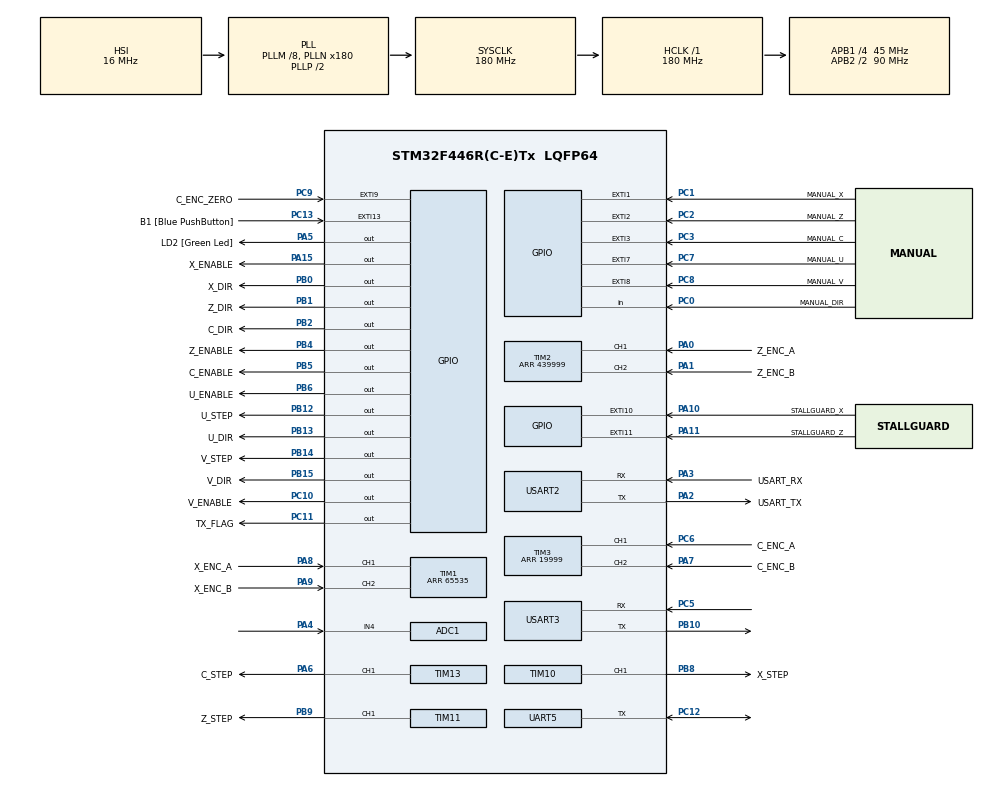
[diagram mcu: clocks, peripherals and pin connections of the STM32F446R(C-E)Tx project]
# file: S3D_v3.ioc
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ADC1.Channel-0\#ChannelRegularConversion=ADC_CHANNEL_4
ADC1.ClockPrescaler=ADC_CLOCK_SYNC_PCLK_DIV8
ADC1.NbrOfConversion=1
ADC1.NbrOfConversionFlag=1
ADC1.Rank-0\#ChannelRegularConversion=1
ADC1.SamplingTime-0\#ChannelRegularConversion=ADC_SAMPLETIME_84CYCLES
ADC1.master=1
Dma.ADC1.0.Direction=DMA_PERIPH_TO_MEMORY
Dma.ADC1.0.FIFOMode=DMA_FIFOMODE_DISABLE
Dma.ADC1.0.Instance=DMA2_Stream0
Dma.ADC1.0.MemDataAlignment=DMA_MDATAALIGN_HALFWORD
Dma.ADC1.0.MemInc=DMA_MINC_DISABLE
Dma.ADC1.0.Mode=DMA_CIRCULAR
Dma.ADC1.0.PeriphDataAlignment=DMA_PDATAALIGN_HALFWORD
Dma.ADC1.0.PeriphInc=DMA_PINC_DISABLE
Dma.ADC1.0.Priority=DMA_PRIORITY_HIGH
Dma.Request0=ADC1
Mcu.Family=STM32F4
Mcu.Name=STM32F446R(C-E)Tx
Mcu.Package=LQFP64
NVIC.DMA2_Stream0_IRQn=true\:0\:0\:false\:false\:true\:false\:true\:true
NVIC.EXTI15_10_IRQn=true\:0\:0\:false\:false\:true\:true\:true\:true
NVIC.EXTI1_IRQn=true\:0\:0\:false\:false\:true\:true\:true\:true
NVIC.EXTI2_IRQn=true\:0\:0\:false\:false\:true\:true\:true\:true
NVIC.EXTI3_IRQn=true\:0\:0\:false\:false\:true\:true\:true\:true
NVIC.EXTI9_5_IRQn=true\:0\:0\:false\:false\:true\:true\:true\:true
NVIC.PriorityGroup=NVIC_PRIORITYGROUP_2
NVIC.TIM1_TRG_COM_TIM11_IRQn=true\:1\:0\:true\:false\:true\:true\:true\:true
NVIC.TIM1_UP_TIM10_IRQn=true\:1\:0\:true\:false\:true\:true\:true\:true
NVIC.TIM6_DAC_IRQn=true\:1\:0\:true\:false\:true\:true\:true\:true
NVIC.TIM7_IRQn=true\:1\:0\:true\:false\:true\:true\:true\:true
NVIC.TIM8_UP_TIM13_IRQn=true\:1\:0\:true\:false\:true\:true\:true\:true
NVIC.USART2_IRQn=true\:0\:0\:false\:false\:true\:true\:true\:true
NVIC.USART3_IRQn=true\:0\:0\:false\:false\:true\:true\:true\:true
PA0-WKUP.GPIO_Label=Z_ENC_A
PA0-WKUP.GPIO_Speed=GPIO_SPEED_FREQ_HIGH
PA0-WKUP.Signal=S_TIM2_CH1_ETR
PA1.GPIO_Label=Z_ENC_B
PA1.Signal=S_TIM2_CH2
PA10.GPIO_Label=STALLGUARD_X
PA10.GPIO_PuPd=GPIO_PULLDOWN
PA10.Signal=GPXTI10
PA11.GPIO_Label=STALLGUARD_Z
PA11.GPIO_PuPd=GPIO_PULLDOWN
PA11.Signal=GPXTI11
PA13.GPIO_Label=TMS
PA13.Mode=Serial_Wire
PA13.Signal=SYS_JTMS-SWDIO
PA14.GPIO_Label=TCK
PA14.Mode=Serial_Wire
PA14.Signal=SYS_JTCK-SWCLK
PA15.GPIO_Label=X_ENABLE
PA15.GPIO_PuPd=GPIO_PULLDOWN
PA15.GPIO_Speed=GPIO_SPEED_FREQ_MEDIUM
PA15.Signal=GPIO_Output
PA2.GPIO_Label=USART_TX
PA2.Mode=Asynchronous
PA2.Signal=USART2_TX
PA3.GPIO_Label=USART_RX
PA3.Mode=Asynchronous
PA3.Signal=USART2_RX
PA4.Signal=ADCx_IN4
PA5.GPIO_Label=LD2 [Green Led]
PA5.Signal=GPIO_Output
PA6.GPIO_Label=C_STEP
PA6.GPIO_PuPd=GPIO_PULLDOWN
PA6.GPIO_Speed=GPIO_SPEED_FREQ_HIGH
PA6.Signal=S_TIM13_CH1
PA7.GPIO_Label=C_ENC_B
PA7.Signal=S_TIM3_CH2
PA8.GPIO_Label=X_ENC_A
PA8.GPIO_Speed=GPIO_SPEED_FREQ_HIGH
PA8.Signal=S_TIM1_CH1
PA9.GPIO_Label=X_ENC_B
PA9.GPIO_Speed=GPIO_SPEED_FREQ_HIGH
PA9.Signal=S_TIM1_CH2
PB0.GPIO_Label=X_DIR
PB0.GPIO_PuPd=GPIO_PULLDOWN
PB0.GPIO_Speed=GPIO_SPEED_FREQ_HIGH
PB0.Signal=GPIO_Output
PB1.GPIO_Label=Z_DIR
PB1.GPIO_PuPd=GPIO_PULLDOWN
PB1.GPIO_Speed=GPIO_SPEED_FREQ_HIGH
PB1.Signal=GPIO_Output
PB10.Mode=Asynchronous
PB10.Signal=USART3_TX
PB12.GPIO_Label=U_STEP
PB12.GPIO_Speed=GPIO_SPEED_FREQ_HIGH
PB12.PinState=GPIO_PIN_RESET
PB12.Signal=GPIO_Output
PB13.GPIO_Label=U_DIR
PB13.GPIO_Speed=GPIO_SPEED_FREQ_HIGH
PB13.Signal=GPIO_Output
PB14.GPIO_Label=V_STEP
PB14.GPIO_Speed=GPIO_SPEED_FREQ_HIGH
PB14.Signal=GPIO_Output
PB15.GPIO_Label=V_DIR
PB15.GPIO_Speed=GPIO_SPEED_FREQ_HIGH
PB15.Signal=GPIO_Output
PB2.GPIO_Label=C_DIR
PB2.GPIO_PuPd=GPIO_PULLDOWN
PB2.GPIO_Speed=GPIO_SPEED_FREQ_HIGH
PB2.Signal=GPIO_Output
PB3.GPIO_Label=SWO
PB3.Signal=SYS_JTDO-SWO
PB4.GPIO_Label=Z_ENABLE
PB4.GPIO_PuPd=GPIO_PULLDOWN
PB4.GPIO_Speed=GPIO_SPEED_FREQ_MEDIUM
PB4.Signal=GPIO_Output
PB5.GPIO_Label=C_ENABLE
PB5.GPIO_PuPd=GPIO_PULLDOWN
PB5.GPIO_Speed=GPIO_SPEED_FREQ_MEDIUM
PB5.PinState=GPIO_PIN_RESET
PB5.Signal=GPIO_Output
PB6.GPIO_Label=U_ENABLE
PB6.GPIO_PuPd=GPIO_PULLDOWN
PB6.GPIO_Speed=GPIO_SPEED_FREQ_MEDIUM
PB6.Signal=GPIO_Output
PB8.GPIO_Label=X_STEP
PB8.GPIO_PuPd=GPIO_PULLDOWN
PB8.GPIO_Speed=GPIO_SPEED_FREQ_HIGH
PB8.Signal=S_TIM10_CH1
PB9.GPIO_Label=Z_STEP
PB9.GPIO_PuPd=GPIO_PULLDOWN
PB9.GPIO_Speed=GPIO_SPEED_FREQ_HIGH
PB9.Signal=S_TIM11_CH1
PC0.GPIO_Label=MANUAL_DIR
PC0.GPIO_PuPd=GPIO_PULLDOWN
PC0.Signal=GPIO_Input
PC1.GPIO_Label=MANUAL_X
PC1.GPIO_ModeDefaultEXTI=GPIO_MODE_IT_RISING_FALLING
PC1.GPIO_PuPd=GPIO_PULLDOWN
PC1.Signal=GPXTI1
PC10.GPIO_Label=V_ENABLE
PC10.GPIO_PuPd=GPIO_PULLDOWN
PC10.GPIO_Speed=GPIO_SPEED_FREQ_MEDIUM
PC10.Signal=GPIO_Output
PC11.GPIO_Label=TX_FLAG
PC11.GPIO_Speed=GPIO_SPEED_FREQ_HIGH
PC11.Signal=GPIO_Output
PC12.Mode=Half_duplex(single_wire_mode)
PC12.Signal=UART5_TX
PC13.GPIO_Label=B1 [Blue PushButton]
PC13.GPIO_ModeDefaultEXTI=GPIO_MODE_IT_FALLING
PC13.Signal=GPXTI13
PC14-OSC32_IN.Mode=LSE-External-Oscillator
PC14-OSC32_IN.Signal=RCC_OSC32_IN
PC15-OSC32_OUT.Mode=LSE-External-Oscillator
PC15-OSC32_OUT.Signal=RCC_OSC32_OUT
PC2.GPIO_Label=MANUAL_Z
PC2.GPIO_ModeDefaultEXTI=GPIO_MODE_IT_RISING_FALLING
PC2.GPIO_PuPd=GPIO_PULLDOWN
PC2.Signal=GPXTI2
PC3.GPIO_Label=MANUAL_C
PC3.GPIO_ModeDefaultEXTI=GPIO_MODE_IT_RISING_FALLING
PC3.GPIO_PuPd=GPIO_PULLDOWN
PC3.Signal=GPXTI3
PC5.Mode=Asynchronous
PC5.Signal=USART3_RX
PC6.GPIO_Label=C_ENC_A
PC6.GPIO_Speed=GPIO_SPEED_FREQ_HIGH
PC6.Signal=S_TIM3_CH1
PC7.GPIO_Label=MANUAL_U
PC7.GPIO_ModeDefaultEXTI=GPIO_MODE_IT_RISING_FALLING
PC7.GPIO_PuPd=GPIO_PULLDOWN
PC7.Signal=GPXTI7
PC8.GPIO_Label=MANUAL_V
PC8.GPIO_ModeDefaultEXTI=GPIO_MODE_IT_RISING_FALLING
PC8.GPIO_PuPd=GPIO_PULLDOWN
PC8.Signal=GPXTI8
PC9.GPIO_Label=C_ENC_ZERO
PC9.GPIO_PuPd=GPIO_PULLDOWN
PC9.Signal=GPXTI9
PH0-OSC_IN.Mode=HSE-External-Oscillator
PH0-OSC_IN.Signal=RCC_OSC_IN
PH1-OSC_OUT.Mode=HSE-External-Oscillator
PH1-OSC_OUT.Signal=RCC_OSC_OUT
ProjectManager.HeapSize=0x200
ProjectManager.StackSize=0x400
ProjectManager.TargetToolchain=STM32CubeIDE
RCC.48MHZClocksFreq_Value=84000000
RCC.AHBFreq_Value=180000000
RCC.APB1CLKDivider=RCC_HCLK_DIV4
RCC.APB1Freq_Value=45000000
RCC.APB1TimFreq_Value=90000000
RCC.APB2CLKDivider=RCC_HCLK_DIV2
RCC.APB2Freq_Value=90000000
RCC.APB2TimFreq_Value=180000000
RCC.CortexFreq_Value=180000000
RCC.FLatency-AdvancedSettings=FLASH_LATENCY_5
RCC.HCLKFreq_Value=180000000
RCC.HSE_VALUE=8000000
RCC.HSI_VALUE=16000000
RCC.PLLM=8
RCC.PLLN=180
RCC.SYSCLKFreq_VALUE=180000000
RCC.SYSCLKSource=RCC_SYSCLKSOURCE_PLLCLK
RCC.USBFreq_Value=180000000
RCC.VCOOutputFreq_Value=360000000
SH.ADCx_IN4.0=ADC1_IN4,IN4
SH.S_TIM10_CH1.0=TIM10_CH1,PWM Generation1 CH1
SH.S_TIM11_CH1.0=TIM11_CH1,PWM Generation1 CH1
SH.S_TIM13_CH1.0=TIM13_CH1,PWM Generation1 CH1
SH.S_TIM1_CH1.0=TIM1_CH1,Encoder_Interface
SH.S_TIM1_CH2.0=TIM1_CH2,Encoder_Interface
SH.S_TIM2_CH1_ETR.0=TIM2_CH1,Encoder_Interface
SH.S_TIM2_CH2.0=TIM2_CH2,Encoder_Interface
SH.S_TIM3_CH1.0=TIM3_CH1,Encoder_Interface
SH.S_TIM3_CH2.0=TIM3_CH2,Encoder_Interface
TIM1.EncoderMode=TIM_ENCODERMODE_TI12
TIM1.IC1Polarity=TIM_ICPOLARITY_RISING
TIM1.IC2Polarity=TIM_ICPOLARITY_RISING
TIM1.Period=65535
TIM10.Channel=TIM_CHANNEL_1
TIM10.Period=99
TIM10.Prescaler=179
TIM10.Pulse=50
TIM11.Channel=TIM_CHANNEL_1
TIM11.Period=99
TIM11.Prescaler=179
TIM11.Pulse=50
TIM13.Channel=TIM_CHANNEL_1
TIM13.Period=99
TIM13.Prescaler=179
TIM13.Pulse=50
TIM2.EncoderMode=TIM_ENCODERMODE_TI12
TIM2.IC1Polarity=TIM_ICPOLARITY_RISING
TIM2.IC2Polarity=TIM_ICPOLARITY_RISING
TIM2.Period=439999
TIM3.EncoderMode=TIM_ENCODERMODE_TI12
TIM3.IC1Polarity=TIM_ICPOLARITY_RISING
TIM3.IC2Polarity=TIM_ICPOLARITY_RISING
TIM3.Period=19999
TIM6.Period=499
TIM6.Prescaler=179
TIM7.Period=99
TIM7.Prescaler=179
UART5.VirtualMode=Asynchronous
USART2.VirtualMode=VM_ASYNC
USART3.VirtualMode=VM_ASYNC
VP_TIM10_VS_ClockSourceINT.Mode=Enable_Timer
VP_TIM11_VS_ClockSourceINT.Mode=Enable_Timer
VP_TIM13_VS_ClockSourceINT.Mode=Enable_Timer
VP_TIM6_VS_ClockSourceINT.Mode=Enable_Timer
VP_TIM7_VS_ClockSourceINT.Mode=Enable_Timer
board=NUCLEO-F446RE

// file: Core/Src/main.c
/* USER CODE BEGIN Header */
/**
  ******************************************************************************
  * @file           : main.c
  * @brief          : Main program body
  ******************************************************************************
  * @attention
  *
  * Copyright (c) 2023 STMicroelectronics.
  * All rights reserved.
  *
  * This software is licensed under terms that can be found in the LICENSE file
  * in the root directory of this software component.
  * If no LICENSE file comes with this software, it is provided AS-IS.
  *
  ******************************************************************************
  */
/* USER CODE END Header */
#include "main.h"
#include "adc.h"
#include "dma.h"
#include "tim.h"
#include "usart.h"
#include "gpio.h"

/* USER CODE BEGIN Includes */
#include "UartRingbuffer.h"
//#include "Steppers.h"
#include "MyFunctions.h"
#include "Communication.hpp"
/* USER CODE END Includes */

/* USER CODE BEGIN PV */
extern struct Stepper xStepper;
extern struct Stepper zStepper;
extern struct Stepper cStepper;
extern struct StepperUV uStepper;
extern struct StepperUV vStepper;

extern Cbool wasInitialized;
extern Mode workMode;

/* USER CODE END PV */

void SystemClock_Config(void);

int main(void)
{

  /* MCU Configuration--------------------------------------------------------*/

  /* Reset of all peripherals, Initializes the Flash interface and the Systick. */
  HAL_Init();

  /* Configure the system clock */
  SystemClock_Config();

  /* Initialize all configured peripherals */
  MX_GPIO_Init();
  MX_DMA_Init();
  MX_USART2_UART_Init();
  MX_USART3_UART_Init();
  MX_TIM1_Init();
  MX_TIM3_Init();
  MX_TIM6_Init();
  MX_TIM7_Init();
  MX_TIM10_Init();
  MX_TIM11_Init();
  MX_TIM13_Init();
  MX_TIM2_Init();
  MX_ADC1_Init();
  MX_UART5_Init();
  /* USER CODE BEGIN 2 */
  HAL_Delay(200);

  /* Inicjalizacja bufora kołowego i wszystkich komponentów */
  Ringbuf_init();
  InitializeComponents();

  HAL_Delay(200);

  /* Wysłanie wiadomości do Raspberry Pi o starcie programu */
  ChangePinState(TX_FLAG_GPIO_Port, TX_FLAG_Pin, 1);
  HAL_Delay(1);
  SendSingleChar('s');

  /* USER CODE END 2 */

  /* Infinite loop */
  while (1)
  {

  }
}

void SystemClock_Config(void)
{
  RCC_OscInitTypeDef RCC_OscInitStruct = {0};
  RCC_ClkInitTypeDef RCC_ClkInitStruct = {0};

  /** Configure the main internal regulator output voltage
  */
  __HAL_RCC_PWR_CLK_ENABLE();
  __HAL_PWR_VOLTAGESCALING_CONFIG(PWR_REGULATOR_VOLTAGE_SCALE1);

  /** Initializes the RCC Oscillators according to the specified parameters
  * in the RCC_OscInitTypeDef structure.
  */
  RCC_OscInitStruct.OscillatorType = RCC_OSCILLATORTYPE_HSI;
  RCC_OscInitStruct.HSIState = RCC_HSI_ON;
  RCC_OscInitStruct.HSICalibrationValue = RCC_HSICALIBRATION_DEFAULT;
  RCC_OscInitStruct.PLL.PLLState = RCC_PLL_ON;
  RCC_OscInitStruct.PLL.PLLSource = RCC_PLLSOURCE_HSI;
  RCC_OscInitStruct.PLL.PLLM = 8;
  RCC_OscInitStruct.PLL.PLLN = 180;
  RCC_OscInitStruct.PLL.PLLP = RCC_PLLP_DIV2;
  RCC_OscInitStruct.PLL.PLLQ = 2;
  RCC_OscInitStruct.PLL.PLLR = 2;
  if (HAL_RCC_OscConfig(&RCC_OscInitStruct) != HAL_OK)
  {
    Error_Handler();
  }

  /** Activate the Over-Drive mode
  */
  if (HAL_PWREx_EnableOverDrive() != HAL_OK)
  {
    Error_Handler();
  }

  /** Initializes the CPU, AHB and APB buses clocks
  */
  RCC_ClkInitStruct.ClockType = RCC_CLOCKTYPE_HCLK|RCC_CLOCKTYPE_SYSCLK
                              |RCC_CLOCKTYPE_PCLK1|RCC_CLOCKTYPE_PCLK2;
  RCC_ClkInitStruct.SYSCLKSource = RCC_SYSCLKSOURCE_PLLCLK;
  RCC_ClkInitStruct.AHBCLKDivider = RCC_SYSCLK_DIV1;
  RCC_ClkInitStruct.APB1CLKDivider = RCC_HCLK_DIV4;
  RCC_ClkInitStruct.APB2CLKDivider = RCC_HCLK_DIV2;

  if (HAL_RCC_ClockConfig(&RCC_ClkInitStruct, FLASH_LATENCY_5) != HAL_OK)
  {
    Error_Handler();
  }
}

/* USER CODE BEGIN 4 */

/**
 * Obsluga przerwania od glownego licznika
 * Wykonywanie glownej funkcji programu co okreslony okres - 500 mikrosekund
 */
void HAL_TIM_PeriodElapsedCallback(TIM_HandleTypeDef *htim)
{
	if (htim -> Instance == MAIN_TIMER)
	{
		MainFunction();
	}
	if (htim -> Instance == UV_TIMER)
	{
		UVStepperHandler(&uStepper);
		UVStepperHandler(&vStepper);
	}
}

/**
 * Obsluga przerwania od zakonczenia trwania pulsu PWM,
 * generowanie sygnalu STEP sterujacego ruchem silnikow krokowych X, Z, C
 */
void HAL_TIM_PWM_PulseFinishedCallback(TIM_HandleTypeDef *htim)
{
	if (htim -> Instance == X_TIMER)
	{
		StepperHandler(&xStepper);
	}
	if (htim -> Instance == Z_TIMER)
	{
		StepperHandler(&zStepper);
	}
	if (htim -> Instance == C_TIMER)
	{
		StepperHandler(&cStepper);
	}
}

/**
 * Obsluga przerwan od zmiany stanu pinow zewnetrznych
 *  - wykrycie zderzenia STALLGUARD,
 *  - reczny ruch silnikami X, Z, C, U, V
 */
void HAL_GPIO_EXTI_Callback(uint16_t GPIO_Pin)
{
	// Zderzenie - wykrycie wzrostu momentu na silniku
	/*
	if (GPIO_Pin == STALLGUARD_X_Pin || (HAL_GPIO_ReadPin(STALLGUARD_X_GPIO_Port, STALLGUARD_X_Pin) == GPIO_PIN_SET)) // wykryto zderzenie w X
	{
		ChangeStepperState(&xStepper, stopped); //Zatrzymanie silnika
		if (xStepper.LastState == movingMinus) 	//Pozycja zerowa
		{
			xStepper.currentPosition = 0.0f;	//Wyzeruj pozycję
			xStepper.Steps = 0;
		}
		return;
	}

	if (GPIO_Pin == STALLGUARD_Z_Pin ||
			(HAL_GPIO_ReadPin(STALLGUARD_Z_GPIO_Port, STALLGUARD_Z_Pin) == GPIO_PIN_SET))	// wykryto zderzenie w X
	{
		ChangeStepperState(&zStepper, stopped); //Zatrzymanie silnika
		if (zStepper.LastState == movingMinus) 	//Pozycja zerowa
		{
			zStepper.currentPosition = 0.0f;	//Wyzeruj pozycję
			zStepper.Steps = 0;
		}
		return;
	}
*/
	// Reczny ruch osiami
	if (wasInitialized == TRUE && workMode == manual)
	{
		switch (GPIO_Pin)
		{
		// -------------------X------------------
		case MANUAL_X_Pin:
			if (xStepper.isLocked == FALSE)
			{
				if (HAL_GPIO_ReadPin(MANUAL_X_GPIO_Port, MANUAL_X_Pin) == GPIO_PIN_RESET)
					ChangeStepperState(&xStepper, stopped);
				else
				{
					if (HAL_GPIO_ReadPin(MANUAL_DIR_GPIO_Port, MANUAL_DIR_Pin) == GPIO_PIN_SET)
						ChangeStepperState(&xStepper, movingPlus);
					else
						ChangeStepperState(&xStepper, movingMinus);
				}
			}

			break;

		// -------------------Z------------------
		case MANUAL_Z_Pin:
			if (zStepper.isLocked == FALSE)
			{
				if (HAL_GPIO_ReadPin(MANUAL_Z_GPIO_Port, MANUAL_Z_Pin) == GPIO_PIN_RESET)
					ChangeStepperState(&zStepper, stopped);
				else
				{
					if (HAL_GPIO_ReadPin(MANUAL_DIR_GPIO_Port, MANUAL_DIR_Pin) == GPIO_PIN_SET)
						ChangeStepperState(&zStepper, movingPlus);
					else
						ChangeStepperState(&zStepper, movingMinus);
				}
			}
			break;

		// -------------------C------------------
		case MANUAL_C_Pin:
			if (cStepper.isLocked == FALSE)
			{
				if (HAL_GPIO_ReadPin(MANUAL_C_GPIO_Port, MANUAL_C_Pin) == GPIO_PIN_RESET)
					ChangeStepperState(&cStepper, stopped);
				else
				{
					if (HAL_GPIO_ReadPin(MANUAL_DIR_GPIO_Port, MANUAL_DIR_Pin) == GPIO_PIN_SET)
						ChangeStepperState(&cStepper, movingPlus);
					else
						ChangeStepperState(&cStepper, movingMinus);
				}
			}
			break;

		// -------------------U------------------
		case MANUAL_U_Pin:
			if (HAL_GPIO_ReadPin(MANUAL_U_GPIO_Port, MANUAL_U_Pin) == GPIO_PIN_RESET)
				ChangeStepperUVState(&uStepper, stopped);
			else
			{
				if (HAL_GPIO_ReadPin(MANUAL_DIR_GPIO_Port, MANUAL_DIR_Pin) == GPIO_PIN_SET)
					ChangeStepperUVState(&uStepper, movingPlus);
				else
					ChangeStepperUVState(&uStepper, movingMinus);
			}
			break;

		// -------------------V------------------
		case MANUAL_V_Pin:
			if (HAL_GPIO_ReadPin(MANUAL_V_GPIO_Port, MANUAL_V_Pin) == GPIO_PIN_RESET)
				ChangeStepperUVState(&vStepper, stopped);
			else
			{
				if (HAL_GPIO_ReadPin(MANUAL_DIR_GPIO_Port, MANUAL_DIR_Pin) == GPIO_PIN_SET)
					ChangeStepperUVState(&vStepper, movingPlus);
				else
					ChangeStepperUVState(&vStepper, movingMinus);
			}
			break;
		}
	}
}
/* USER CODE END 4 */

void Error_Handler(void)
{
  __disable_irq();
  while (1)
  {
  }
}
